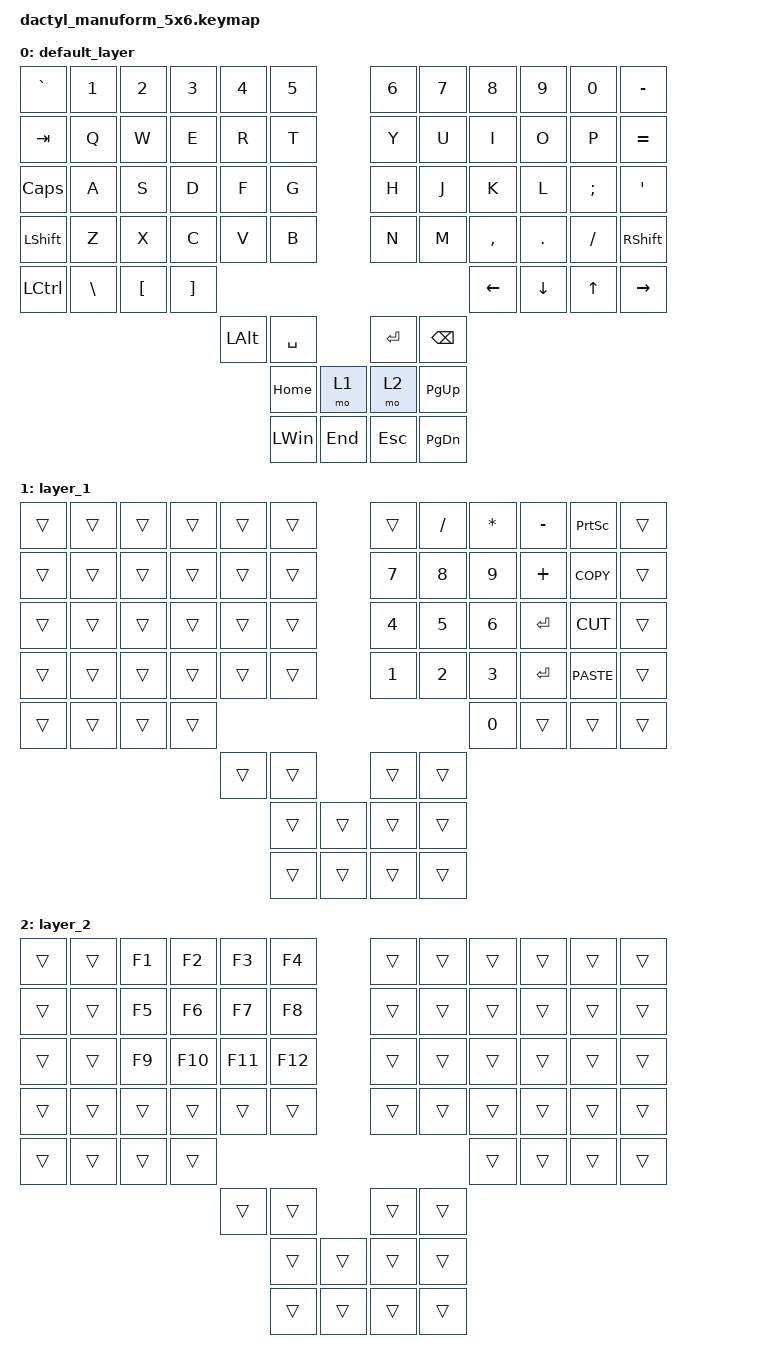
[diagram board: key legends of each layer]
#include <behaviors.dtsi>
#include <dt-bindings/zmk/mouse.h>
#include <dt-bindings/zmk/keys.h>

#define DEFAULT 0
#define LWR 1
#define RSE 2
#define ADJ 3
#define NAV 4
#define GAME 5

/ {
    // macros {
    //     ZMK_MACRO(lwr_macro,
    //         wait-ms = <30>;
    //         tap-ms = <40>;
    //         bindings
    //             = <&macro_press &mo 1>
    //             , <&macro_tap &rgb_ug RGB_COLOR_HSB(128,100,100)>
    //             , <&macro_pause_for_release>
    //             , <&macro_release &mo 1>
    //             , <&macro_tap &rgb_ug RGB_EFF>
    //             , <&macro_tap &rgb_ug RGB_EFR>;
    //     )
    //     ZMK_MACRO(rse_macro,
    //         wait-ms = <30>;
    //         tap-ms = <40>;
    //         bindings
    //             = <&macro_press &mo 2>
    //             , <&macro_tap &rgb_ug RGB_COLOR_HSB(128,100,100)>
    //             , <&macro_pause_for_release>
    //             , <&macro_release &mo 2>
    //             , <&macro_tap &rgb_ug RGB_EFF>
    //             , <&macro_tap &rgb_ug RGB_EFR>;
    //     )
    //     ZMK_MACRO(adj_macro,
    //         wait-ms = <30>;
    //         tap-ms = <40>;
    //         bindings
    //             = <&macro_press &to 3>
    //             , <&macro_tap &rgb_ug RGB_COLOR_HSB(128,100,100)>
    //             , <&macro_pause_for_release>
    //             , <&macro_release &mo 3>
    //             , <&macro_tap &rgb_ug RGB_EFF>
    //             , <&macro_tap &rgb_ug RGB_EFR>;
    //     )
    //     ZMK_MACRO(nav_macro,
    //         wait-ms = <30>;
    //         tap-ms = <40>;
    //         bindings
    //             = <&macro_press &to 4>
    //             , <&macro_tap &rgb_ug RGB_COLOR_HSB(128,100,100)>
    //             , <&macro_pause_for_release>
    //             , <&macro_release &mo 4>
    //             , <&macro_tap &rgb_ug RGB_EFF>
    //             , <&macro_tap &rgb_ug RGB_EFR>;
    //     )
    // };

    keymap {
        compatible = "zmk,keymap";

        default_layer {
            bindings = <
&kp GRAVE     &kp N1         &kp N2    &kp N3    &kp N4        &kp N5                          &kp N6         &kp N7         &kp N8     &kp N9          &kp N0        &kp MINUS
&kp TAB       &kp Q          &kp W     &kp E     &kp R         &kp T                           &kp Y          &kp U          &kp I      &kp O           &kp P         &kp EQUAL
&kp CAPSLOCK  &kp A          &kp S     &kp D     &kp F         &kp G                           &kp H          &kp J          &kp K      &kp L           &kp SEMI      &kp SQT
&kp LSHIFT    &kp Z          &kp X     &kp C     &kp V         &kp B                           &kp N          &kp M          &kp COMMA  &kp DOT         &kp FSLH      &kp RIGHT_SHIFT
&kp LCTRL     &kp BACKSLASH  &kp LBKT  &kp RBKT                                                                              &kp LEFT   &kp DOWN_ARROW  &kp UP_ARROW  &kp RIGHT
                                                 &kp LEFT_ALT  &kp SPACE                       &kp ENTER      &kp BACKSPACE
                                                               &kp HOME   &mo 1    &mo 2       &kp PAGE_UP
                                                               &kp LWIN   &kp END  &kp ESCAPE  &kp PAGE_DOWN
            >;
        };

        layer_1 {
            bindings = <
&trans  &trans  &trans  &trans  &trans  &trans                  &trans  &kp FSLH  &kp STAR  &kp MINUS  &kp PRINTSCREEN  &trans
&trans  &trans  &trans  &trans  &trans  &trans                  &kp N7  &kp N8    &kp N9    &kp PLUS   &kp K_COPY       &trans
&trans  &trans  &trans  &trans  &trans  &trans                  &kp N4  &kp N5    &kp N6    &kp ENTER  &kp K_CUT        &trans
&trans  &trans  &trans  &trans  &trans  &trans                  &kp N1  &kp N2    &kp N3    &kp ENTER  &kp K_PASTE      &trans
&trans  &trans  &trans  &trans                                                    &kp N0    &trans     &trans           &trans
                                &trans  &trans                  &trans  &trans
                                        &trans  &trans  &trans  &trans
                                        &trans  &trans  &trans  &trans
            >;
        };

        layer_2 {
            bindings = <
&trans  &trans  &kp F1  &kp F2   &kp F3   &kp F4                   &trans  &trans  &trans  &trans  &trans  &trans
&trans  &trans  &kp F5  &kp F6   &kp F7   &kp F8                   &trans  &trans  &trans  &trans  &trans  &trans
&trans  &trans  &kp F9  &kp F10  &kp F11  &kp F12                  &trans  &trans  &trans  &trans  &trans  &trans
&trans  &trans  &trans  &trans   &trans   &trans                   &trans  &trans  &trans  &trans  &trans  &trans
&trans  &trans  &trans  &trans                                                     &trans  &trans  &trans  &trans
                                 &trans   &trans                   &trans  &trans
                                          &trans   &trans  &trans  &trans
                                          &trans   &trans  &trans  &trans
            >;
        };

        //         lower_layer {
        //             bindings = <
        // &kp ESC     &kp N1 &kp N2 &kp N3 &kp N4 &kp N5              &kp N6 &kp N7 &kp N8    &kp N9  &kp N0   &kp BSPC
        //                 &kp GRAVE   &kp Q  &kp W  &kp E  &kp R  &kp T               &kp Y  &kp U  &kp I     &kp O   &kp P    &kp MINUS
        //                 &kp TAB     &kp A  &kp S  &kp D  &kp F  &kp G               &kp H  &kp J  &kp K     &kp L   &kp SEMI &kp SQT
        //                 &kp LCTRL   &kp Z  &kp X  &kp C  &kp V  &kp B               &kp N  &kp M  &kp COMMA &kp DOT &kp FSLH &kp BSLH
        //                                  &kp LBKT &kp RBKT                                      &kp RALT &kp EQUAL
        //                                             &mo LWR  &kp SPACE           &none    &kp RET
        //                                             &to NAV  &kp LSHIFT          &none    &kp LGUI
        //                                             &to GAME &kp HOME            &kp END  &mo RSE
        //             >;
        //         };
        //         raise_layer {
        //             bindings = <
        // &kp ESC     &kp N1 &kp N2 &kp N3 &kp N4 &kp N5              &kp N6 &kp N7 &kp N8    &kp N9  &kp N0   &kp BSPC
        //                 &kp GRAVE   &kp Q  &kp W  &kp E  &kp R  &kp T               &kp Y  &kp U  &kp I     &kp O   &kp P    &kp MINUS
        //                 &kp TAB     &kp A  &kp S  &kp D  &kp F  &kp G               &kp H  &kp J  &kp K     &kp L   &kp SEMI &kp SQT
        //                 &kp LCTRL   &kp Z  &kp X  &kp C  &kp V  &kp B               &kp N  &kp M  &kp COMMA &kp DOT &kp FSLH &kp BSLH
        //                                  &kp LBKT &kp RBKT                                      &kp RALT &kp EQUAL
        //                                             &mo LWR  &kp SPACE           &none    &kp RET
        //                                             &to NAV  &kp LSHIFT          &none    &kp LGUI
        //                                             &to GAME &kp HOME            &kp END  &mo RSE
        //             >;
        //         };
        //         adjust_layer {
        //             bindings = <
        // &kp ESC     &kp N1 &kp N2 &kp N3 &kp N4 &kp N5              &kp N6 &kp N7 &kp N8    &kp N9  &kp N0   &kp BSPC
        //                 &kp GRAVE   &kp Q  &kp W  &kp E  &kp R  &kp T               &kp Y  &kp U  &kp I     &kp O   &kp P    &kp MINUS
        //                 &kp TAB     &kp A  &kp S  &kp D  &kp F  &kp G               &kp H  &kp J  &kp K     &kp L   &kp SEMI &kp SQT
        //                 &kp LCTRL   &kp Z  &kp X  &kp C  &kp V  &kp B               &kp N  &kp M  &kp COMMA &kp DOT &kp FSLH &kp BSLH
        //                                  &kp LBKT &kp RBKT                                      &kp RALT &kp EQUAL
        //                                             &mo LWR  &kp SPACE           &none    &kp RET
        //                                             &to NAV  &kp LSHIFT          &none    &kp LGUI
        //                                             &to GAME &kp HOME            &kp END  &mo RSE
        //             >;
        //         };
        //         navigation_layer {
        //             bindings = <
        // &kp ESC     &kp N1 &kp N2 &kp N3 &kp N4 &kp N5              &kp N6 &kp N7 &kp N8    &kp N9  &kp N0   &kp BSPC
        //                 &kp GRAVE   &kp Q  &kp W  &kp E  &kp R  &kp T               &kp Y  &kp U  &kp I     &kp O   &kp P    &kp MINUS
        //                 &kp TAB     &kp A  &kp S  &kp D  &kp F  &kp G               &kp H  &kp J  &kp K     &kp L   &kp SEMI &kp SQT
        //                 &kp LCTRL   &kp Z  &kp X  &kp C  &kp V  &kp B               &kp N  &kp M  &kp COMMA &kp DOT &kp FSLH &kp BSLH
        //                                  &kp LBKT &kp RBKT                                      &kp RALT &kp EQUAL
        //                                             &mo LWR  &kp SPACE           &none    &kp RET
        //                                             &to NAV  &kp LSHIFT          &none    &kp LGUI
        //                                             &to GAME &kp HOME            &kp END  &mo RSE
        //             >;
        //         };
        //         gaming_layer {
        //             bindings = <
        // &kp ESC     &kp N1 &kp N2 &kp N3 &kp N4 &kp N5              &kp N6 &kp N7 &kp N8    &kp N9  &kp N0   &kp BSPC
        //                 &kp GRAVE   &kp Q  &kp W  &kp E  &kp R  &kp T               &kp Y  &kp U  &kp I     &kp O   &kp P    &kp MINUS
        //                 &kp TAB     &kp A  &kp S  &kp D  &kp F  &kp G               &kp H  &kp J  &kp K     &kp L   &kp SEMI &kp SQT
        //                 &kp LCTRL   &kp Z  &kp X  &kp C  &kp V  &kp B               &kp N  &kp M  &kp COMMA &kp DOT &kp FSLH &kp BSLH
        //                                  &kp LBKT &kp RBKT                                      &kp RALT &kp EQUAL
        //                                             &mo LWR  &kp SPACE           &none    &kp RET
        //                                             &to NAV  &kp LSHIFT          &none    &kp LGUI
        //                                             &to GAME &kp HOME            &kp END  &mo RSE
        //             >;
        //         };
    };
};
